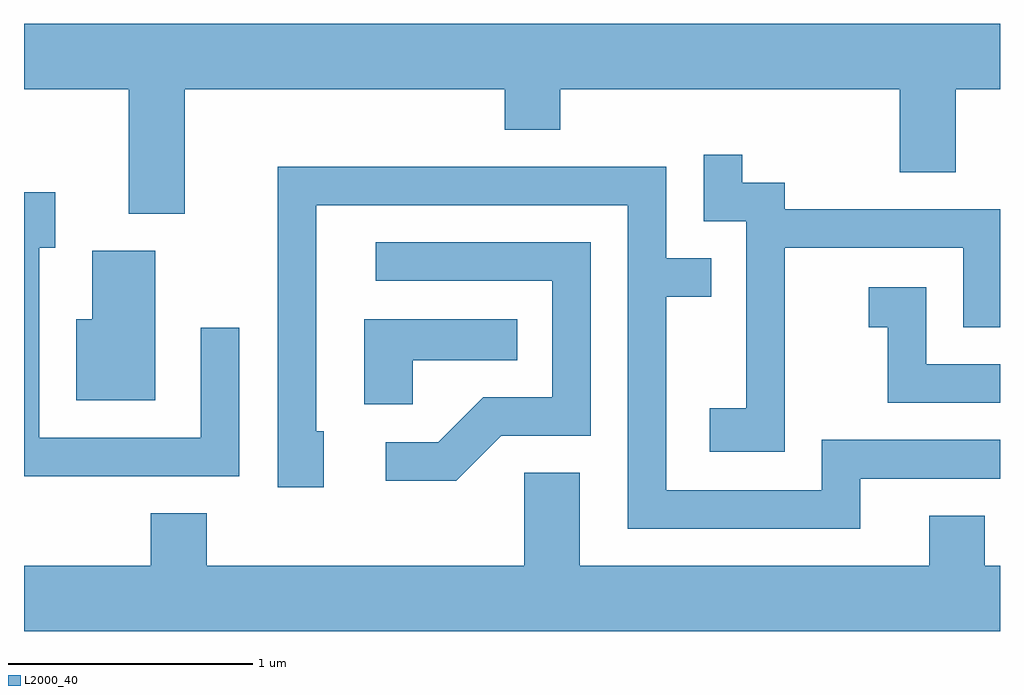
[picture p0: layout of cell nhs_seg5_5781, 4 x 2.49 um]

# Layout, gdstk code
import gdstk
lib = gdstk.Library(unit=1e-6, precision=1e-09)
def P(c, l, *ps):  # polygons
    for p in ps: c.add(gdstk.Polygon(p, *l))
L2000_40 = (2000, 40)

nhs_seg5_5781 = lib.new_cell('nhs_seg5_5781')
P(nhs_seg5_5781, L2000_40, [(356.269,1514.516),(357.581,1514.516),(357.581,1514.351),(357.809,1514.351),(357.809,1514.516),(359.201,1514.516),(359.201,1514.176),(359.429,1514.176),(359.429,1514.516),(359.611,1514.516),(359.611,1514.784),(355.611,1514.784),(355.611,1514.516),(356.041,1514.516),(356.041,1514.006),(356.269,1514.006)],
  [(358.729,1513.866),(359.461,1513.866),(359.461,1513.541),(359.611,1513.541),(359.611,1514.024),(358.729,1514.024),(358.729,1514.134),(358.554,1514.134),(358.554,1514.248),(358.396,1514.248),(358.396,1513.976),(358.571,1513.976),(358.571,1513.209),(358.421,1513.209),(358.421,1513.031),(358.729,1513.031)],
  [(359.039,1512.921),(359.611,1512.921),(359.611,1513.079),(358.881,1513.079),(358.881,1512.874),(358.244,1512.874),(358.244,1513.666),(358.428,1513.666),(358.428,1513.824),(358.244,1513.824),(358.244,1514.199),(356.651,1514.199),(356.651,1512.886),(356.839,1512.886),(356.839,1513.114),(356.809,1513.114),(356.809,1514.041),(358.086,1514.041),(358.086,1512.716),(359.039,1512.716)],
  [(356.494,1513.538),(356.336,1513.538),(356.336,1513.089),(355.674,1513.089),(355.674,1513.866),(355.739,1513.866),(355.739,1514.094),(355.611,1514.094),(355.611,1512.931),(356.494,1512.931)],
  [(357.567,1513.096),(357.934,1513.096),(357.934,1513.889),(357.053,1513.889),(357.053,1513.731),(357.776,1513.731),(357.776,1513.254),(357.494,1513.254),(357.309,1513.069),(357.093,1513.069),(357.093,1512.911),(357.382,1512.911)],
  [(356.149,1513.854),(355.891,1513.854),(355.891,1513.574),(355.826,1513.574),(355.826,1513.241),(356.149,1513.241)],
  [(359.611,1513.389),(359.309,1513.389),(359.309,1513.704),(359.073,1513.704),(359.073,1513.541),(359.151,1513.541),(359.151,1513.231),(359.611,1513.231)],
  [(357.204,1513.406),(357.633,1513.406),(357.633,1513.574),(357.006,1513.574),(357.006,1513.226),(357.204,1513.226)],
  [(359.611,1512.564),(359.549,1512.564),(359.549,1512.769),(359.321,1512.769),(359.321,1512.564),(357.889,1512.564),(357.889,1512.944),(357.661,1512.944),(357.661,1512.564),(356.359,1512.564),(356.359,1512.779),(356.131,1512.779),(356.131,1512.564),(355.611,1512.564),(355.611,1512.296),(359.611,1512.296)])

lib.write_gds('nhs_seg5_5781.gds')
